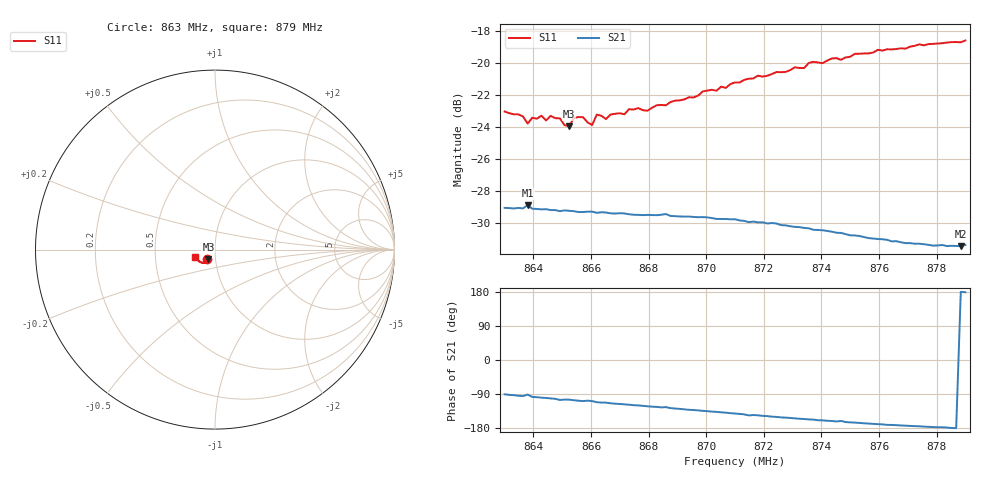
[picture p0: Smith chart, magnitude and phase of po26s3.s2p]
# HZ S RI R 50
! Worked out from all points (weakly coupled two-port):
!   101 points, 863 MHz to 879 MHz, reference 50 ohm
!   highest |S21| = -28.89 dB at 863.8 MHz (marker M1); lowest = -31.5 dB at 878.84 MHz (marker M2)
!   lowest |S11| = -24.0 dB at 865.24 MHz (marker M3), VSWR 1.14, Z = 46.2 - j4.8 ohm
!   |S11| at or under -10 dB: start of sweep to end of sweep
!   S12 and S22 are empty: the file has one direction only
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8.63e8  -0.0454 -0.054  -0.000357 -0.0352  0 0  0 0
8.6364e8  -0.0423 -0.0533  -0.00319 -0.0349  0 0  0 0
8.638e8  -0.0349 -0.0544  -0.000783 -0.0359  0 0  0 0
8.6396e8  -0.0407 -0.0538  -0.00451 -0.0347  0 0  0 0
8.6428e8  -0.0403 -0.0554  -0.00568 -0.0344  0 0  0 0
8.6444e8  -0.0398 -0.0528  -0.00619 -0.0343  0 0  0 0
8.646e8  -0.0403 -0.0552  -0.00686 -0.034  0 0  0 0
8.6524e8  -0.0367 -0.0517  -0.0087 -0.0334  0 0  0 0
8.654e8  -0.0376 -0.0558  -0.00959 -0.033  0 0  0 0
8.6572e8  -0.0366 -0.057  -0.0109 -0.0324  0 0  0 0
8.6604e8  -0.0292 -0.057  -0.0109 -0.0325  0 0  0 0
8.662e8  -0.0362 -0.0587  -0.0124 -0.0316  0 0  0 0
8.6652e8  -0.0315 -0.0589  -0.013 -0.0315  0 0  0 0
8.6732e8  -0.0371 -0.0614  -0.0158 -0.0297  0 0  0 0
8.6796e8  -0.036 -0.0611  -0.0178 -0.0283  0 0  0 0
8.6844e8  -0.0371 -0.064  -0.0193 -0.0274  0 0  0 0
8.71e8  -0.0479 -0.0726  -0.0253 -0.0203  0 0  0 0
8.734e8  -0.0614 -0.0744  -0.0278 -0.0125  0 0  0 0
8.7372e8  -0.068 -0.0746  -0.0277 -0.0116  0 0  0 0
8.7644e8  -0.0911 -0.0623  -0.0273 -0.00415  0 0  0 0
8.7884e8  -0.1081 -0.0427  -0.0267 8.9e-05  0 0  0 0
8.79e8  -0.1106 -0.0406  -0.027 0.000533  0 0  0 0
